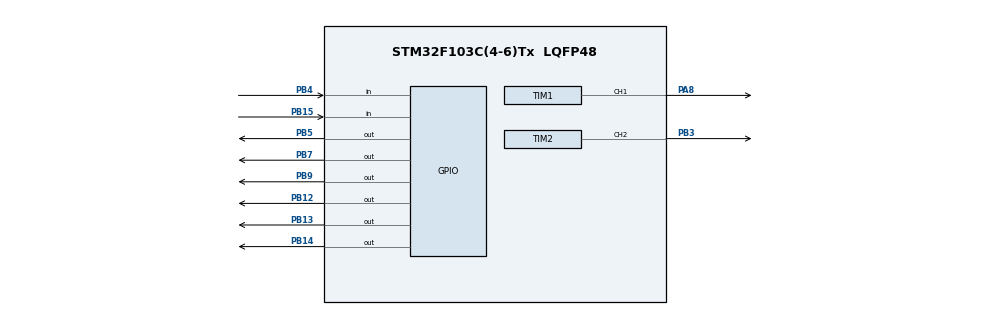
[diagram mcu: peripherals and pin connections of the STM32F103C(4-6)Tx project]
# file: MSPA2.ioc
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Mcu.Family=STM32F1
TIM2.Channel-PWM\ Generation2\ CH2=TIM_CHANNEL_2
PB13.Signal=GPIO_Output
PB15.Signal=GPIO_Input
ProjectManager.StackSize=0x400
PA13.Signal=SYS_JTMS-SWDIO
SH.S_TIM2_CH2.0=TIM2_CH2,PWM Generation2 CH2
SH.S_TIM1_CH1.0=TIM1_CH1,PWM Generation1 CH1
ProjectManager.TargetToolchain=STM32CubeIDE
PB4.GPIO_PuPd=GPIO_PULLUP
PB14.Signal=GPIO_Output
board=custom
RCC.APB2Freq_Value=8000000
VP_TIM2_VS_ClockSourceINT.Mode=Internal
TIM1.Channel-PWM\ Generation1\ CH1=TIM_CHANNEL_1
PA14.Mode=Serial_Wire
PB7.Signal=GPIO_Output
PA8.Signal=S_TIM1_CH1
PA13.Mode=Serial_Wire
Mcu.Name=STM32F103C(4-6)Tx
VP_TIM1_VS_ClockSourceINT.Mode=Internal
PB3.Signal=S_TIM2_CH2
Mcu.Package=LQFP48
PB5.Signal=GPIO_Output
PB9.Signal=GPIO_Output
PB15.GPIO_PuPd=GPIO_PULLUP
PA14.Signal=SYS_JTCK-SWCLK
ProjectManager.HeapSize=0x200
NVIC.PriorityGroup=NVIC_PRIORITYGROUP_4
RCC.APB1Freq_Value=8000000
PB12.Signal=GPIO_Output
PB4.Signal=GPIO_Input

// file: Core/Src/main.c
/* USER CODE BEGIN Header */
/**
  ******************************************************************************
  * @file           : main.c
  * @brief          : Main program body
  ******************************************************************************
  * @attention
  *
  * <h2><center>&copy; Copyright (c) 2026 STMicroelectronics.
  * All rights reserved.</center></h2>
  *
  * This software component is licensed by ST under BSD 3-Clause license,
  * the "License"; You may not use this file except in compliance with the
  * License. You may obtain a copy of the License at:
  *                        opensource.org/licenses/BSD-3-Clause
  *
  ******************************************************************************
  */
/* USER CODE END Header */
#include "main.h"

/* USER CODE BEGIN Includes */
#include <stdlib.h>

/* USER CODE END Includes */

TIM_HandleTypeDef htim1;
TIM_HandleTypeDef htim2;

/* USER CODE BEGIN PV */
#define RED     0
#define YELLOW  1
#define GREEN   2

uint16_t sirenFreq = 700;
int8_t   sirenDir  = 1;

uint8_t  sirenMode = 0;   // 0 = WAIL, 1 = YELP
uint32_t sirenModeTick = 0;

uint32_t lastSirenTick = 0;
uint32_t lastLedTick   = 0;

// ===== SIREN 2 (HI-LO) =====
uint8_t  hiloState = 0;        // 0 = LO, 1 = HI
uint32_t hiloTick  = 0;

uint8_t  adaptiveLevel = 0;      // 0 → 3
uint32_t adaptiveTick  = 0;
uint8_t ledPhase = 0;   // 0 → 5

// ===== SIREN 8 : MISSILE LAUNCH =====
uint8_t  missileStage = 0;     // 0=COUNTDOWN, 1=IGNITION, 2=LAUNCH
uint32_t missileTick  = 0;

uint16_t missileFreq = 800;
uint16_t missileBeepDelay = 600;
uint8_t missileCount = 0;   // 0=T-3, 1=T-2, 2=T-1
uint8_t  missileBeepOn = 0;
uint32_t missileBeepTick = 0;

typedef enum
{
    TIMER_AUDIO = 0,
    TIMER_LED,
    TIMER_BEEP,
    TIMER_MODE,
    TIMER_MISC,
    TIMER_COUNT
} TimerID_t;

uint32_t timerTick[TIMER_COUNT];

/* ===== BUTTON PINS ===== */
#define RED_BTN_PORT     GPIOB
#define RED_BTN_PIN      GPIO_PIN_15

#define BLUE_BTN_PORT    GPIOB
#define BLUE_BTN_PIN     GPIO_PIN_4

#define RED_BTN_PRESSED()   (HAL_GPIO_ReadPin(RED_BTN_PORT, RED_BTN_PIN) == GPIO_PIN_RESET)
#define BLUE_BTN_PRESSED()  (HAL_GPIO_ReadPin(BLUE_BTN_PORT, BLUE_BTN_PIN) == GPIO_PIN_RESET)

#define BTN_DEBOUNCE_MS     30

typedef struct
{
    uint8_t  lastState;
    uint8_t  stableState;
    uint32_t lastChangeTick;

    uint8_t  tap;
    uint8_t  hold;
    uint8_t  release;
} Button_t;

Button_t btnRed;
Button_t btnBlue;

static uint32_t danceTick = 0;

typedef enum
{
    MODE_IDLE = 0,
    MODE_SIREN,
    MODE_LED_DANCE
} SystemMode_t;

SystemMode_t systemMode = MODE_IDLE;

uint8_t sirenIndex = 0;
#define SIREN_COUNT 8

uint8_t ledPatternIndex = 0;
#define LED_PATTERN_COUNT 5

uint8_t sirenEnabled = 0;   // Emergency siren ON/OFF

/* USER CODE END PV */

void SystemClock_Config(void);
static void MX_GPIO_Init(void);
static void MX_TIM1_Init(void);
static void MX_TIM2_Init(void);
/* USER CODE BEGIN PFP */
/* ===== LED CONTROL ===== */
void Timer_ResetAll(void);

void LeftLED_AllOff(void);
void RightLED_AllOff(void);
void LeftLED_Set(uint8_t color);
void RightLED_Set(uint8_t color);
void AllLED_Off(void);

/* ===== AUDIO ===== */
void Speaker_PlayFreq(uint16_t freq);
void Buzzer_PlayFreq(uint16_t freq);

/* ===== SIREN 1 : AMERICAN WAIL + YELP ===== */
void Siren1_AmericanWailYelp_Run(void);

/* ===== SIREN 2 : HI-LO ===== */
void Siren2_HiLo_Run(void);
void Siren3_Phaser_Run(void);
/* ===== SIREN 4 : FIRE TRUCK ===== */
void Siren4_FireTruck_Run(void);
/* ===== SIREN 5 : AMBULANCE (EUROPEAN) ===== */
void Siren5_Ambulance_Run(void);
/* ===== SIREN 6 : AIR RAID ===== */
void Siren6_AirRaid_Run(void);

void Siren8_MissileLaunch_Run(void);
/* ===== SIREN : INDIAN POLICE ===== */
/* ===== SIREN : INDIAN FILM POLICE ===== */
void Siren_IndianFilmPolice_Run(void);

uint8_t Timer_Expired(TimerID_t id, uint32_t interval);

void Button_Test_Run(void);
void Button_Update(Button_t *btn, GPIO_TypeDef *port, uint16_t pin);
void Button_AdvancedTest_Run(void);

/* ===== SIREN CONTROL ===== */
void Siren_RunCurrent(void);

/* USER CODE END PFP */

/* USER CODE BEGIN 0 */
void Siren_ResetState(void)
{
    sirenFreq = 700;
    sirenDir  = 1;
    sirenMode = 0;

    for (int i = 0; i < TIMER_COUNT; i++)
        timerTick[i] = HAL_GetTick();
}

void Timer_ResetAll(void)
{
    for (int i = 0; i < TIMER_COUNT; i++)
        timerTick[i] = HAL_GetTick();
}

uint8_t Timer_Expired(TimerID_t id, uint32_t interval)
{
    uint32_t now = HAL_GetTick();

    if (now - timerTick[id] >= interval)
    {
        timerTick[id] = now;
        return 1;
    }
    return 0;
}

void Buzzer_PlayFreq(uint16_t freq)
{
    if (freq == 0)
    {
        __HAL_TIM_SET_COMPARE(&htim2, TIM_CHANNEL_2, 0);
        return;
    }

    uint32_t arr = (HAL_RCC_GetPCLK1Freq() / freq) - 1;

    __HAL_TIM_SET_AUTORELOAD(&htim2, arr);
    __HAL_TIM_SET_COMPARE(&htim2, TIM_CHANNEL_2, arr / 2);
}

void Speaker_PlayFreq(uint16_t freq)
{
    if (freq == 0)
    {
        __HAL_TIM_SET_COMPARE(&htim1, TIM_CHANNEL_1, 0);
        return;
    }

    uint32_t arr = (HAL_RCC_GetPCLK2Freq() / freq) - 1;

    __HAL_TIM_SET_AUTORELOAD(&htim1, arr);
    __HAL_TIM_SET_COMPARE(&htim1, TIM_CHANNEL_1, arr / 2);
}

// ===== LED GROUPS =====
void LeftLED_AllOff(void)
{
    HAL_GPIO_WritePin(GPIOB,
        GPIO_PIN_9 | GPIO_PIN_7 | GPIO_PIN_5,
        GPIO_PIN_RESET);
}

void RightLED_AllOff(void)
{
    HAL_GPIO_WritePin(GPIOB,
        GPIO_PIN_14 | GPIO_PIN_13 | GPIO_PIN_12,
        GPIO_PIN_RESET);
}

void AllLED_Off(void)
{
    LeftLED_AllOff();
    RightLED_AllOff();
}

void LeftLED_Set(uint8_t color)
{
    LeftLED_AllOff();
    if (color == RED)    HAL_GPIO_WritePin(GPIOB, GPIO_PIN_9, GPIO_PIN_SET);
    if (color == YELLOW) HAL_GPIO_WritePin(GPIOB, GPIO_PIN_7, GPIO_PIN_SET);
    if (color == GREEN)  HAL_GPIO_WritePin(GPIOB, GPIO_PIN_5, GPIO_PIN_SET);
}

void RightLED_Set(uint8_t color)
{
    RightLED_AllOff();
    if (color == RED)    HAL_GPIO_WritePin(GPIOB, GPIO_PIN_14, GPIO_PIN_SET);
    if (color == YELLOW) HAL_GPIO_WritePin(GPIOB, GPIO_PIN_13, GPIO_PIN_SET);
    if (color == GREEN)  HAL_GPIO_WritePin(GPIOB, GPIO_PIN_12, GPIO_PIN_SET);
}

void Siren1_AmericanWailYelp_Run(void)
{
    /* -------- MODE SWITCH (INTERNAL) -------- */
    if (sirenMode == 0 && Timer_Expired(TIMER_MODE, 3000))
    {
        sirenMode = 1;          // WAIL → YELP
    }
    else if (sirenMode == 1 && Timer_Expired(TIMER_MODE, 2000))
    {
        sirenMode = 0;          // YELP → WAIL
    }

    /* ================= AUDIO ================= */

    if (sirenMode == 0)
    {
        // ---- WAIL ----
        if (Timer_Expired(TIMER_AUDIO, 12))
        {
            sirenFreq += sirenDir * 10;

            if (sirenFreq >= 1600)
            {
                sirenFreq = 1600;
                sirenDir = -1;
            }
            else if (sirenFreq <= 700)
            {
                sirenFreq = 700;
                sirenDir = 1;
            }

            Speaker_PlayFreq(sirenFreq);
        }
    }
    else
    {
        // ---- YELP ----
        if (Timer_Expired(TIMER_AUDIO, 80))
        {
            if (sirenFreq > 1200)
                sirenFreq = 900;
            else
                sirenFreq = 1600;

            Speaker_PlayFreq(sirenFreq);
        }
    }

    /* ================= LED SYNC (REFERENCE STYLE) ================= */

    if (Timer_Expired(TIMER_LED, 80))
    {
        if (sirenFreq > 1200)
        {
            LeftLED_Set(RED);
            RightLED_Set(RED);
        }
        else if (sirenFreq > 900)
        {
            LeftLED_Set(YELLOW);
            RightLED_Set(YELLOW);
        }
        else
        {
            LeftLED_Set(GREEN);
            RightLED_Set(GREEN);
        }
    }
}

void Siren2_HiLo_Run(void)
{
    static uint8_t ledStep = 0;
    uint32_t now = HAL_GetTick();

    // -------- HI / LO toggle --------
    if (now - hiloTick >= 450)
    {
        hiloTick = now;
        hiloState ^= 1;
        ledStep = 0;
    }

    if (hiloState)
    {
        // ========== HI ==========
        Speaker_PlayFreq(1500);

        if (now - lastLedTick >= 80)
        {
            lastLedTick = now;
            ledStep ^= 1;
        }

        if (ledStep == 0)
        {
            LeftLED_Set(RED);
            RightLED_Set(RED);
        }
        else
        {
            LeftLED_Set(YELLOW);
            RightLED_Set(YELLOW);
        }
    }
    else
    {
        // ========== LO ==========
        Speaker_PlayFreq(800);

        if (now - lastLedTick >= 200)
        {
            lastLedTick = now;
            ledStep ^= 1;
        }

        if (ledStep)
        {
            LeftLED_Set(GREEN);
            RightLED_Set(GREEN);
        }
        else
        {
            AllLED_Off();
        }
    }
}

void Siren3_Phaser_Run(void)
{
    static uint16_t freq = 900;
    static int8_t dir = 1;
    static uint8_t step = 0;

    uint32_t now = HAL_GetTick();

    /* ===== AUDIO ===== */
    if (now - lastSirenTick >= 8)
    {
        lastSirenTick = now;

        freq += dir * 25;

        if (freq >= 1400)
        {
            freq = 1400;
            dir = -1;
        }
        else if (freq <= 900)
        {
            freq = 900;
            dir = 1;
        }

        Speaker_PlayFreq(freq);
    }

    /* ===== LED PHASER CHASE ===== */
    if (now - lastLedTick >= 60)
    {
        lastLedTick = now;
        step = (step + 1) % 3;

        // LEFT: GREEN → YELLOW → RED
        if (step == 0) LeftLED_Set(GREEN);
        else if (step == 1) LeftLED_Set(YELLOW);
        else LeftLED_Set(RED);

        // RIGHT: RED → YELLOW → GREEN (reverse)
        if (step == 0) RightLED_Set(RED);
        else if (step == 1) RightLED_Set(YELLOW);
        else RightLED_Set(GREEN);
    }
}

void Siren4_FireTruck_Run(void)
{
    uint32_t now = HAL_GetTick();

    /* ===== AUDIO : SLOW HEAVY SWEEP ===== */
    if (now - lastSirenTick >= 18)
    {
        lastSirenTick = now;

        sirenFreq += sirenDir * 6;

        if (sirenFreq >= 1200)
        {
            sirenFreq = 1200;
            sirenDir = -1;
        }
        else if (sirenFreq <= 600)
        {
            sirenFreq = 600;
            sirenDir = 1;
        }

        Speaker_PlayFreq(sirenFreq);
    }

    /* ===== LED : FOLLOW RISE / FALL ===== */
    if (now - lastLedTick >= 100)
    {
        lastLedTick = now;

        if (sirenDir > 0)
        {
            // RISING tone → build up
            if (sirenFreq < 800)
            {
                LeftLED_Set(GREEN);
                RightLED_Set(GREEN);
            }
            else if (sirenFreq < 1000)
            {
                LeftLED_Set(YELLOW);
                RightLED_Set(YELLOW);
            }
            else
            {
                LeftLED_Set(RED);
                RightLED_Set(RED);
            }
        }
        else
        {
            // FALLING tone → release
            if (sirenFreq > 1000)
            {
                LeftLED_Set(RED);
                RightLED_Set(RED);
            }
            else if (sirenFreq > 800)
            {
                LeftLED_Set(YELLOW);
                RightLED_Set(YELLOW);
            }
            else
            {
                LeftLED_Set(GREEN);
                RightLED_Set(GREEN);
            }
        }
    }

}

void Siren5_Ambulance_Run(void)
{
    static uint8_t tone = 0;   // 0 = LOW, 1 = HIGH
    uint32_t now = HAL_GetTick();

    if (now - lastSirenTick >= 350)
    {
        lastSirenTick = now;
        tone ^= 1;

        if (tone == 0)
        {
            // LOW tone
            Speaker_PlayFreq(650);

            LeftLED_Set(GREEN);
            RightLED_Set(GREEN);
        }
        else
        {
            // HIGH tone
            Speaker_PlayFreq(950);

            LeftLED_Set(RED);
            RightLED_Set(RED);
        }
    }

    /* Yellow accent (always on during ambulance) */
    if (now - lastLedTick >= 120)
    {
        lastLedTick = now;

        HAL_GPIO_TogglePin(GPIOB, GPIO_PIN_7);   // Left YELLOW
        HAL_GPIO_TogglePin(GPIOB, GPIO_PIN_13);  // Right YELLOW
    }
}

void Siren6_AirRaid_Run(void)
{
    static uint16_t freq = 400;
    static int8_t dir = 1;

    uint32_t now = HAL_GetTick();

    /* ===== AUDIO : SLOW WIDE SWEEP ===== */
    if (now - lastSirenTick >= 25)
    {
        lastSirenTick = now;

        freq += dir * 4;

        if (freq >= 1200)
        {
            freq = 1200;
            dir = -1;
        }
        else if (freq <= 400)
        {
            freq = 400;
            dir = 1;
        }

        Speaker_PlayFreq(freq);
    }

    /* ===== LED : WARNING LEVEL ===== */
    if (now - lastLedTick >= 120)
    {
        lastLedTick = now;

        if (freq > 950)
        {
            LeftLED_Set(RED);
            RightLED_Set(RED);
        }
        else if (freq > 650)
        {
            LeftLED_Set(YELLOW);
            RightLED_Set(YELLOW);
        }
        else
        {
            LeftLED_Set(GREEN);
            RightLED_Set(GREEN);
        }
    }
}

void Siren8_MissileLaunch_Run(void)
{
    uint32_t now = HAL_GetTick();

    /* ===== STAGE TRANSITION ===== */
    if (missileStage == 0 && now - missileTick > 6000)
    {
        missileStage = 1;   // IGNITION
        missileTick = now;
        missileFreq = 800;
    }
    else if (missileStage == 1 && now - missileTick > 3000)
    {
        missileStage = 2;   // LAUNCH
        missileTick = now;
    }

    /* ================= STAGE 0 : COUNTDOWN ================= */
    if (missileStage == 0)
    {
        /* ---- BEEP TIMING ---- */
        if (now - missileBeepTick >= missileBeepDelay)
        {
            missileBeepTick = now;
            missileBeepOn ^= 1;

            if (missileBeepOn)
                Speaker_PlayFreq(1000);
            else
                Speaker_PlayFreq(0);

            if (missileBeepDelay > 150)
                missileBeepDelay -= 40;
        }

        /* ---- LED COUNTDOWN ---- */
        if (now - lastLedTick >= 300)
        {
            lastLedTick = now;
            static uint8_t side = 0;
            side ^= 1;

            if (side)
            {
                LeftLED_Set(YELLOW);
                RightLED_AllOff();
            }
            else
            {
                RightLED_Set(YELLOW);
                LeftLED_AllOff();
            }
        }
    }

    /* ================= STAGE 1 : IGNITION ================= */
    else if (missileStage == 1)
    {
        if (now - lastSirenTick >= 20)
        {
            lastSirenTick = now;
            missileFreq += 12;
            if (missileFreq > 1600) missileFreq = 1600;
            Speaker_PlayFreq(missileFreq);
        }

        if (now - lastLedTick >= 80)
        {
            lastLedTick = now;
            LeftLED_Set(RED);
            RightLED_Set(RED);
        }
    }

    /* ================= STAGE 2 : LAUNCH ================= */
    else
    {
        Speaker_PlayFreq(1800);

        if (now - lastLedTick >= 100)
        {
            lastLedTick = now;
            static uint8_t pulse = 0;
            pulse ^= 1;

            if (pulse)
            {
                LeftLED_Set(RED);
                RightLED_Set(RED);
            }
            else
            {
                AllLED_Off();
            }
        }
    }
}

void Siren_IndianFilmPolice_Run(void)
{
    static uint16_t freq = 500;
    static int8_t dir = 1;
    uint32_t now = HAL_GetTick();

    /* ===== AUDIO SWEEP ===== */
    if (now - lastSirenTick >= 20)
    {
        lastSirenTick = now;

        freq += dir * 15;

        if (freq >= 1100)
        {
            freq = 1100;
            dir = -1;
        }
        else if (freq <= 500)
        {
            freq = 500;
            dir = 1;
        }

        Speaker_PlayFreq(freq);
    }

    /* ===== LED SYNC ===== */
    if (now - lastLedTick >= 80)
    {
        lastLedTick = now;

        if (freq > 900)
        {
            LeftLED_Set(RED);
            RightLED_Set(RED);
        }
        else if (freq > 700)
        {
            LeftLED_Set(YELLOW);
            RightLED_Set(YELLOW);
        }
        else
        {
            LeftLED_Set(GREEN);
            RightLED_Set(GREEN);
        }
    }
}

void Siren_AlertOverride_Run(void)
{
    static uint16_t spkFreq = 600;
    static int8_t spkDir = 1;

    static uint8_t buzzerState = 0;
    static uint32_t buzzerTick = 0;

    uint32_t now = HAL_GetTick();

    /* ========= SPEAKER : MAIN SWEEP ========= */
    if (now - lastSirenTick >= 15)
    {
        lastSirenTick = now;

        spkFreq += spkDir * 12;

        if (spkFreq >= 1400)
        {
            spkFreq = 1400;
            spkDir = -1;
        }
        else if (spkFreq <= 600)
        {
            spkFreq = 600;
            spkDir = 1;
        }

        Speaker_PlayFreq(spkFreq);
    }

    /* ========= BUZZER : WARNING PULSE ========= */
    if (now - buzzerTick >= (buzzerState ? 80 : 120))
    {
        buzzerTick = now;
        buzzerState ^= 1;

        if (buzzerState)
            Buzzer_PlayFreq(2800);   // sharp alert
        else
            Buzzer_PlayFreq(0);
    }

    /* ========= LED SYNC ========= */
    if (now - lastLedTick >= 70)
    {
        lastLedTick = now;

        if (buzzerState)
        {
            // OVERRIDE warning
            LeftLED_Set(RED);
            RightLED_Set(RED);
        }
        else if (spkFreq > 1100)
        {
            LeftLED_Set(RED);
            RightLED_Set(RED);
        }
        else if (spkFreq > 850)
        {
            LeftLED_Set(YELLOW);
            RightLED_Set(YELLOW);
        }
        else
        {
            LeftLED_Set(GREEN);
            RightLED_Set(GREEN);
        }
    }
}

void Button_Test_Run(void)
{
    static uint8_t redLast  = 1;
    static uint8_t blueLast = 1;

    uint8_t redNow  = RED_BTN_PRESSED();
    uint8_t blueNow = BLUE_BTN_PRESSED();

    /* ===== RED BUTTON TEST ===== */
    if (redNow && !redLast)
    {
        // Red button pressed → solid RED LEDs
        LeftLED_Set(RED);
        RightLED_Set(RED);
    }

    /* ===== BLUE BUTTON TEST ===== */
    if (blueNow && !blueLast)
    {
        // Blue button pressed → solid BLUE substitute (YELLOW used here)
        LeftLED_Set(YELLOW);
        RightLED_Set(YELLOW);
    }

    redLast  = redNow;
    blueLast = blueNow;
}

void LED_Dance_Pattern1(void)
{
    static uint8_t step = 0;

    if (HAL_GetTick() - danceTick < 250) return;
    danceTick = HAL_GetTick();

    step = (step + 1) % 3;

    if (step == 0)
    {
        LeftLED_Set(RED);
        RightLED_Set(GREEN);
    }
    else if (step == 1)
    {
        LeftLED_Set(YELLOW);
        RightLED_Set(RED);
    }
    else
    {
        LeftLED_Set(GREEN);
        RightLED_Set(YELLOW);
    }
}

void LED_Dance_Pattern2(void)
{
    static uint8_t state = 0;

    if (HAL_GetTick() - danceTick < 180) return;
    danceTick = HAL_GetTick();

    state ^= 1;

    if (state)
    {
        LeftLED_Set(RED);
        RightLED_AllOff();
    }
    else
    {
        RightLED_Set(RED);
        LeftLED_AllOff();
    }
}

void LED_Dance_Pattern3(void)
{
    if (HAL_GetTick() - danceTick < 120) return;
    danceTick = HAL_GetTick();

    uint8_t left  = rand() % 3;
    uint8_t right = rand() % 3;

    LeftLED_Set(left);
    RightLED_Set(right);
}

void LED_Dance_Pattern4(void)
{
    static uint8_t phase = 0;

    if (HAL_GetTick() - danceTick < 200) return;
    danceTick = HAL_GetTick();

    phase = (phase + 1) % 3;

    if (phase == 0)
    {
        LeftLED_Set(GREEN);
        RightLED_AllOff();
    }
    else if (phase == 1)
    {
        LeftLED_Set(YELLOW);
        RightLED_Set(GREEN);
    }
    else
    {
        LeftLED_Set(RED);
        RightLED_Set(YELLOW);
    }
}

void LED_Dance_Pattern5(void)
{
    static uint8_t on = 0;

    if (HAL_GetTick() - danceTick < 300) return;
    danceTick = HAL_GetTick();

    on ^= 1;

    if (on)
    {
        LeftLED_Set(RED);
        RightLED_Set(RED);
    }
    else
    {
        AllLED_Off();
    }
}

void LED_Dance_Run(uint8_t pattern)
{
    switch (pattern)
    {
        case 0: LED_Dance_Pattern1(); break;
        case 1: LED_Dance_Pattern2(); break;
        case 2: LED_Dance_Pattern3(); break;
        case 3: LED_Dance_Pattern4(); break;
        case 4: LED_Dance_Pattern5(); break;
        default: AllLED_Off(); break;
    }
}

void Button_Update(Button_t *btn, GPIO_TypeDef *port, uint16_t pin)
{
    uint32_t now = HAL_GetTick();
    uint8_t raw = (HAL_GPIO_ReadPin(port, pin) == GPIO_PIN_RESET); // active LOW

    /* Clear one-shot events */
    btn->tap     = 0;
    btn->release = 0;
    btn->hold    = 0;

    /* Debounce */
    if (raw != btn->lastState)
    {
        btn->lastState = raw;
        btn->lastChangeTick = now;
    }

    if ((now - btn->lastChangeTick) < BTN_DEBOUNCE_MS)
        return;

    /* Stable edge detected */
    if (raw != btn->stableState)
    {
        btn->stableState = raw;

        if (raw)
        {
            /* TAP = press edge */
            btn->tap = 1;
        }
        else
        {
            /* RELEASE = release edge */
            btn->release = 1;
        }
    }

    /* HOLD = continuously pressed */
    if (btn->stableState)
    {
        btn->hold = 1;
    }
}

void Button_AdvancedTest_Run(void)
{
    Button_Update(&btnRed,  GPIOB, GPIO_PIN_15);
    Button_Update(&btnBlue, GPIOB, GPIO_PIN_4);

    /* ===== RELEASE (highest priority) ===== */
    if (btnRed.release || btnBlue.release)
    {
        AllLED_Off();
        return;
    }

    /* ===== HOLD ===== */
    if (btnRed.hold)
    {
        LeftLED_Set(RED);
        RightLED_Set(RED);
        return;
    }

    if (btnBlue.hold)
    {
        LeftLED_Set(YELLOW);
        RightLED_Set(YELLOW);
        return;
    }

    /* ===== TAP ===== */
    if (btnRed.tap)
    {
        LeftLED_Set(RED);
        RightLED_Set(GREEN);
        return;
    }

    if (btnBlue.tap)
    {
        LeftLED_Set(GREEN);
        RightLED_Set(GREEN);
        return;
    }
}

void System_Control_Run(void)
{
    /* ================= BUTTON UPDATES ================= */
    Button_Update(&btnRed,  GPIOB, GPIO_PIN_15);
    Button_Update(&btnBlue, GPIOB, GPIO_PIN_4);

    /* ================= RED BUTTON : EMERGENCY TOGGLE ================= */
    if (btnRed.tap && !btnBlue.hold)
    {
        sirenEnabled ^= 1;

        if (sirenEnabled)
            Siren_ResetState();
        else
        {
            Speaker_PlayFreq(0);
            Buzzer_PlayFreq(0);
            AllLED_Off();
        }
    }

    /* ================= MODE SELECTION ================= */
    /* LED dance ONLY if BLUE is held AND RED is NOT held */
    if (btnBlue.hold && !btnRed.hold)
    {
        systemMode = MODE_LED_DANCE;
    }
    else if (sirenEnabled)
    {
        systemMode = MODE_SIREN;
    }
    else
    {
        systemMode = MODE_IDLE;
    }

    static SystemMode_t lastMode = MODE_IDLE;

    if (systemMode != lastMode)
    {
        if (systemMode == MODE_SIREN)
            Siren_ResetState();
        else
        {
            Speaker_PlayFreq(0);
            Buzzer_PlayFreq(0);
        }

        lastMode = systemMode;
    }

    /* ================= MODE EXECUTION ================= */

    switch (systemMode)
    {
        /* ===== EMERGENCY SIREN MODE ===== */
        case MODE_SIREN:

            /* 🔥 CHANGE SIREN: RED held + BLUE tap */
            if (btnRed.hold && btnBlue.tap)
            {
                sirenIndex++;
                if (sirenIndex >= SIREN_COUNT)
                    sirenIndex = 0;

                Siren_ResetState();
            }

            Siren_RunCurrent();
            break;

        /* ===== LED DANCE MODE ===== */
        case MODE_LED_DANCE:

            /* Change LED pattern using RED tap */
            if (btnRed.tap)
            {
                ledPatternIndex++;
                if (ledPatternIndex >= LED_PATTERN_COUNT)
                    ledPatternIndex = 0;
            }

            LED_Dance_Run(ledPatternIndex);
            break;

        /* ===== IDLE MODE ===== */
        default:
            Speaker_PlayFreq(0);
            Buzzer_PlayFreq(0);
            AllLED_Off();
            break;
    }
}

void Siren_RunCurrent(void)
{
    switch (sirenIndex)
    {
        case 0: Siren1_AmericanWailYelp_Run(); break;
        case 1: Siren2_HiLo_Run(); break;
        case 2: Siren3_Phaser_Run(); break;
        case 3: Siren4_FireTruck_Run(); break;
        case 4: Siren5_Ambulance_Run(); break;
        case 5: Siren6_AirRaid_Run(); break;
        case 6: Siren8_MissileLaunch_Run(); break;
        case 7: Siren_IndianFilmPolice_Run(); break;
        default: break;
    }
}

/* USER CODE END 0 */

int main(void)
{

  /* MCU Configuration--------------------------------------------------------*/

  /* Reset of all peripherals, Initializes the Flash interface and the Systick. */
  HAL_Init();

  /* USER CODE BEGIN Init */
  srand(HAL_GetTick());

  // Enable AFIO clock
  __HAL_RCC_AFIO_CLK_ENABLE();
  __HAL_AFIO_REMAP_SWJ_NOJTAG();

  /* USER CODE END Init */

  /* Configure the system clock */
  SystemClock_Config();

  /* Initialize all configured peripherals */
  MX_GPIO_Init();
  MX_TIM1_Init();
  MX_TIM2_Init();
  /* USER CODE BEGIN 2 */
  HAL_TIM_PWM_Start(&htim1, TIM_CHANNEL_1);

  HAL_TIM_PWM_Start(&htim2, TIM_CHANNEL_2);

  // REMOVE GPIO_PIN_3 from this call
  HAL_GPIO_WritePin(GPIOB,
      GPIO_PIN_9  | GPIO_PIN_7  | GPIO_PIN_5 |
      GPIO_PIN_14 | GPIO_PIN_13 | GPIO_PIN_12,
      GPIO_PIN_RESET);

  /* USER CODE END 2 */

  /* Infinite loop */
  /* USER CODE BEGIN WHILE */
  while (1)
  {
	      System_Control_Run();

  }
}

void SystemClock_Config(void)
{
  RCC_OscInitTypeDef RCC_OscInitStruct = {0};
  RCC_ClkInitTypeDef RCC_ClkInitStruct = {0};

  /** Initializes the RCC Oscillators according to the specified parameters
  * in the RCC_OscInitTypeDef structure.
  */
  RCC_OscInitStruct.OscillatorType = RCC_OSCILLATORTYPE_HSI;
  RCC_OscInitStruct.HSIState = RCC_HSI_ON;
  RCC_OscInitStruct.HSICalibrationValue = RCC_HSICALIBRATION_DEFAULT;
  RCC_OscInitStruct.PLL.PLLState = RCC_PLL_NONE;
  if (HAL_RCC_OscConfig(&RCC_OscInitStruct) != HAL_OK)
  {
    Error_Handler();
  }
  /** Initializes the CPU, AHB and APB buses clocks
  */
  RCC_ClkInitStruct.ClockType = RCC_CLOCKTYPE_HCLK|RCC_CLOCKTYPE_SYSCLK
                              |RCC_CLOCKTYPE_PCLK1|RCC_CLOCKTYPE_PCLK2;
  RCC_ClkInitStruct.SYSCLKSource = RCC_SYSCLKSOURCE_HSI;
  RCC_ClkInitStruct.AHBCLKDivider = RCC_SYSCLK_DIV1;
  RCC_ClkInitStruct.APB1CLKDivider = RCC_HCLK_DIV1;
  RCC_ClkInitStruct.APB2CLKDivider = RCC_HCLK_DIV1;

  if (HAL_RCC_ClockConfig(&RCC_ClkInitStruct, FLASH_LATENCY_0) != HAL_OK)
  {
    Error_Handler();
  }
}

static void MX_TIM1_Init(void)
{

  TIM_ClockConfigTypeDef sClockSourceConfig = {0};
  TIM_MasterConfigTypeDef sMasterConfig = {0};
  TIM_OC_InitTypeDef sConfigOC = {0};
  TIM_BreakDeadTimeConfigTypeDef sBreakDeadTimeConfig = {0};

  htim1.Instance = TIM1;
  htim1.Init.Prescaler = 0;
  htim1.Init.CounterMode = TIM_COUNTERMODE_UP;
  htim1.Init.Period = 65535;
  htim1.Init.ClockDivision = TIM_CLOCKDIVISION_DIV1;
  htim1.Init.RepetitionCounter = 0;
  htim1.Init.AutoReloadPreload = TIM_AUTORELOAD_PRELOAD_DISABLE;
  if (HAL_TIM_Base_Init(&htim1) != HAL_OK)
  {
    Error_Handler();
  }
  sClockSourceConfig.ClockSource = TIM_CLOCKSOURCE_INTERNAL;
  if (HAL_TIM_ConfigClockSource(&htim1, &sClockSourceConfig) != HAL_OK)
  {
    Error_Handler();
  }
  if (HAL_TIM_PWM_Init(&htim1) != HAL_OK)
  {
    Error_Handler();
  }
  sMasterConfig.MasterOutputTrigger = TIM_TRGO_RESET;
  sMasterConfig.MasterSlaveMode = TIM_MASTERSLAVEMODE_DISABLE;
  if (HAL_TIMEx_MasterConfigSynchronization(&htim1, &sMasterConfig) != HAL_OK)
  {
    Error_Handler();
  }
  sConfigOC.OCMode = TIM_OCMODE_PWM1;
  sConfigOC.Pulse = 0;
  sConfigOC.OCPolarity = TIM_OCPOLARITY_HIGH;
  sConfigOC.OCNPolarity = TIM_OCNPOLARITY_HIGH;
  sConfigOC.OCFastMode = TIM_OCFAST_DISABLE;
  sConfigOC.OCIdleState = TIM_OCIDLESTATE_RESET;
  sConfigOC.OCNIdleState = TIM_OCNIDLESTATE_RESET;
  if (HAL_TIM_PWM_ConfigChannel(&htim1, &sConfigOC, TIM_CHANNEL_1) != HAL_OK)
  {
    Error_Handler();
  }
  sBreakDeadTimeConfig.OffStateRunMode = TIM_OSSR_DISABLE;
  sBreakDeadTimeConfig.OffStateIDLEMode = TIM_OSSI_DISABLE;
  sBreakDeadTimeConfig.LockLevel = TIM_LOCKLEVEL_OFF;
  sBreakDeadTimeConfig.DeadTime = 0;
  sBreakDeadTimeConfig.BreakState = TIM_BREAK_DISABLE;
  sBreakDeadTimeConfig.BreakPolarity = TIM_BREAKPOLARITY_HIGH;
  sBreakDeadTimeConfig.AutomaticOutput = TIM_AUTOMATICOUTPUT_DISABLE;
  if (HAL_TIMEx_ConfigBreakDeadTime(&htim1, &sBreakDeadTimeConfig) != HAL_OK)
  {
    Error_Handler();
  }
  HAL_TIM_MspPostInit(&htim1);

}

static void MX_TIM2_Init(void)
{

  TIM_ClockConfigTypeDef sClockSourceConfig = {0};
  TIM_MasterConfigTypeDef sMasterConfig = {0};
  TIM_OC_InitTypeDef sConfigOC = {0};

  htim2.Instance = TIM2;
  htim2.Init.Prescaler = 0;
  htim2.Init.CounterMode = TIM_COUNTERMODE_UP;
  htim2.Init.Period = 65535;
  htim2.Init.ClockDivision = TIM_CLOCKDIVISION_DIV1;
  htim2.Init.AutoReloadPreload = TIM_AUTORELOAD_PRELOAD_DISABLE;
  if (HAL_TIM_Base_Init(&htim2) != HAL_OK)
  {
    Error_Handler();
  }
  sClockSourceConfig.ClockSource = TIM_CLOCKSOURCE_INTERNAL;
  if (HAL_TIM_ConfigClockSource(&htim2, &sClockSourceConfig) != HAL_OK)
  {
    Error_Handler();
  }
  if (HAL_TIM_PWM_Init(&htim2) != HAL_OK)
  {
    Error_Handler();
  }
  sMasterConfig.MasterOutputTrigger = TIM_TRGO_RESET;
  sMasterConfig.MasterSlaveMode = TIM_MASTERSLAVEMODE_DISABLE;
  if (HAL_TIMEx_MasterConfigSynchronization(&htim2, &sMasterConfig) != HAL_OK)
  {
    Error_Handler();
  }
  sConfigOC.OCMode = TIM_OCMODE_PWM1;
  sConfigOC.Pulse = 0;
  sConfigOC.OCPolarity = TIM_OCPOLARITY_HIGH;
  sConfigOC.OCFastMode = TIM_OCFAST_DISABLE;
  if (HAL_TIM_PWM_ConfigChannel(&htim2, &sConfigOC, TIM_CHANNEL_2) != HAL_OK)
  {
    Error_Handler();
  }
  HAL_TIM_MspPostInit(&htim2);

}

static void MX_GPIO_Init(void)
{
  GPIO_InitTypeDef GPIO_InitStruct = {0};

  /* GPIO Ports Clock Enable */
  __HAL_RCC_GPIOB_CLK_ENABLE();
  __HAL_RCC_GPIOA_CLK_ENABLE();

  /*Configure GPIO pin Output Level */
  HAL_GPIO_WritePin(GPIOB, GPIO_PIN_12|GPIO_PIN_13|GPIO_PIN_14|GPIO_PIN_5
                          |GPIO_PIN_7|GPIO_PIN_9, GPIO_PIN_RESET);

  /*Configure GPIO pins : PB12 PB13 PB14 PB5
                           PB7 PB9 */
  GPIO_InitStruct.Pin = GPIO_PIN_12|GPIO_PIN_13|GPIO_PIN_14|GPIO_PIN_5
                          |GPIO_PIN_7|GPIO_PIN_9;
  GPIO_InitStruct.Mode = GPIO_MODE_OUTPUT_PP;
  GPIO_InitStruct.Pull = GPIO_NOPULL;
  GPIO_InitStruct.Speed = GPIO_SPEED_FREQ_LOW;
  HAL_GPIO_Init(GPIOB, &GPIO_InitStruct);

  /*Configure GPIO pins : PB15 PB4 */
  GPIO_InitStruct.Pin = GPIO_PIN_15|GPIO_PIN_4;
  GPIO_InitStruct.Mode = GPIO_MODE_INPUT;
  GPIO_InitStruct.Pull = GPIO_PULLUP;
  HAL_GPIO_Init(GPIOB, &GPIO_InitStruct);

}

void Error_Handler(void)
{
  __disable_irq();
  while (1)
  {
  }
}

/************************ (C) COPYRIGHT STMicroelectronics *****END OF FILE****/
